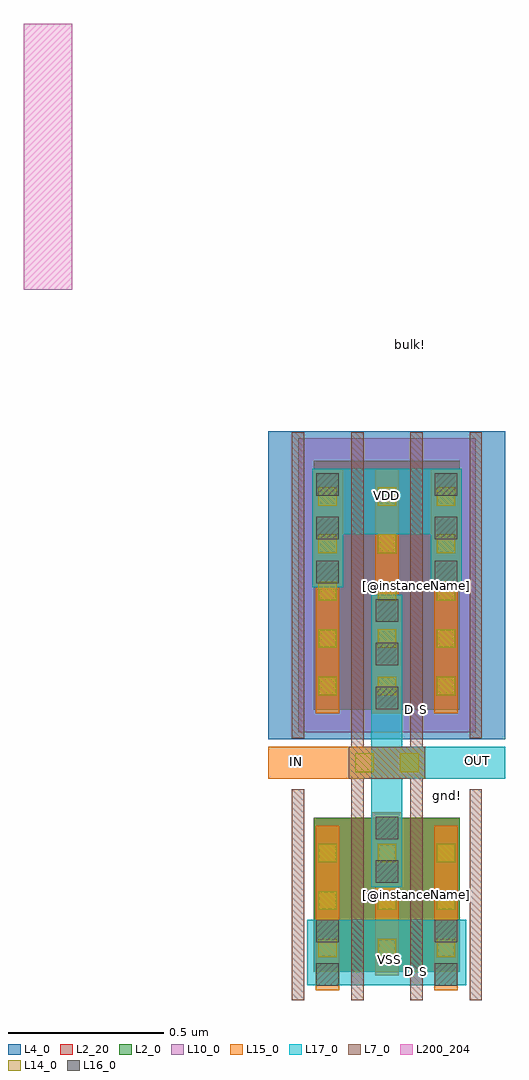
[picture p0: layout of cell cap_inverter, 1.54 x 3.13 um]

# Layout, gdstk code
import gdstk
lib = gdstk.Library(unit=1e-6, precision=1e-09)
def R(c, l, rs):  # rectangles x0, y0, x1, y1
    for r in rs: c.add(gdstk.rectangle(r[:2], r[2:], *l))
def A(c, l, x, y, w, h, nx, ny, dx, dy):  # array of equal rectangles
    R(c, l, [(x+i*dx, y+j*dy, x+i*dx+w, y+j*dy+h) for i in range(nx) for j in range(ny)])
L2_0 = (2, 0)
L2_20 = (2, 20)
L4_0 = (4, 0)
L7_0 = (7, 0)
L10_0 = (10, 0)
L14_0 = (14, 0)
L15_0 = (15, 0)
L16_0 = (16, 0)
L17_0 = (17, 0)
L200_204 = (200, 204)

cap_inverter = lib.new_cell('cap_inverter')
R(cap_inverter, L2_0, [(2.25,-1.842,2.369,-1.348), (2.369,-1.842,2.409,-1.348), (2.409,-1.842,2.559,-1.348), (2.559,-1.842,2.599,-1.348), (2.599,-1.842,2.718,-1.348), (2.25,-1.002,2.369,-0.204), (2.369,-1.002,2.409,-0.204), (2.409,-1.002,2.559,-0.204), (2.559,-1.002,2.599,-0.204), (2.599,-1.002,2.718,-0.204)])
R(cap_inverter, L2_20, [(2.25,-1.842,2.718,-1.348), (2.25,-1.002,2.718,-0.204)])
R(cap_inverter, L4_0, [(2.104,-1.097,2.864,-0.109)])
R(cap_inverter, L7_0, [(2.179,-1.933,2.219,-1.257), (2.369,-1.933,2.409,-1.842), (2.559,-1.933,2.599,-1.842), (2.749,-1.933,2.789,-1.257), (2.369,-1.842,2.409,-1.348), (2.559,-1.842,2.599,-1.348), (2.369,-1.348,2.409,-1.257), (2.559,-1.348,2.599,-1.257), (2.369,-1.257,2.409,-1.093), (2.559,-1.257,2.599,-1.093), (2.361,-1.223,2.607,-1.121), (2.361,-1.223,2.607,-1.121), (2.179,-1.093,2.219,-0.113), (2.369,-1.093,2.409,-1.002), (2.559,-1.093,2.599,-1.002), (2.749,-1.093,2.789,-0.113), (2.369,-1.002,2.409,-0.204), (2.559,-1.002,2.599,-0.204), (2.369,-0.204,2.409,-0.113), (2.559,-0.204,2.599,-0.113)])
R(cap_inverter, L10_0, [(2.199,-1.074,2.769,-0.132)])
A(cap_inverter, L14_0, 2.264, -1.796, 0.06, 0.06, 3, 3, 0.19, 0.152)
A(cap_inverter, L14_0, 2.264, -0.956, 0.06, 0.06, 3, 5, 0.19, 0.152)
R(cap_inverter, L14_0, [(2.382,-1.202,2.442,-1.142), (2.526,-1.202,2.586,-1.142)])
R(cap_inverter, L15_0, [(2.256,-1.901,2.332,-1.661), (2.636,-1.901,2.712,-1.661), (2.434,-1.571,2.534,-1.331), (2.104,-1.223,2.607,-1.121), (2.367,-1.217,2.601,-1.127), (2.434,-1.014,2.534,-0.634), (2.244,-0.61,2.344,-0.23), (2.624,-0.61,2.724,-0.23)])
A(cap_inverter, L16_0, 2.448, -1, 0.072, 0.072, 1, 3, 0, 0.14)
A(cap_inverter, L16_0, 2.258, -0.596, 0.072, 0.072, 1, 3, 0, 0.14)
A(cap_inverter, L16_0, 2.638, -0.596, 0.072, 0.072, 1, 3, 0, 0.14)
R(cap_inverter, L16_0, [(2.258,-1.887,2.33,-1.815), (2.638,-1.887,2.71,-1.815), (2.258,-1.747,2.33,-1.675), (2.638,-1.747,2.71,-1.675), (2.448,-1.557,2.52,-1.485), (2.448,-1.417,2.52,-1.345)])
R(cap_inverter, L17_0, [(2.229,-1.886,2.359,-1.676), (2.244,-1.886,2.724,-1.676), (2.609,-1.886,2.739,-1.676), (2.434,-1.571,2.534,-1.331), (2.434,-1.374,2.534,-1.014), (2.442,-1.223,2.864,-1.121), (2.434,-1.014,2.534,-0.634), (2.244,-0.61,2.344,-0.23), (2.624,-0.61,2.724,-0.23), (2.244,-0.44,2.724,-0.23)])
R(cap_inverter, L200_204, [(1.319,0.345,1.475,1.197)])
cap_inverter.add(gdstk.FlexPath([(2.294,-1.014),(2.294,-0.23)], 0.076, ends="flush", simple_path=True, layer=15, datatype=0))  # L15_0
cap_inverter.add(gdstk.FlexPath([(2.484,-1.014),(2.484,-0.23)], 0.076, ends="flush", simple_path=True, layer=15, datatype=0))  # L15_0
cap_inverter.add(gdstk.FlexPath([(2.674,-1.014),(2.674,-0.23)], 0.076, ends="flush", simple_path=True, layer=15, datatype=0))  # L15_0
cap_inverter.add(gdstk.FlexPath([(2.294,-1.854),(2.294,-1.374)], 0.076, ends="flush", simple_path=True, layer=15, datatype=0))  # L15_0
cap_inverter.add(gdstk.FlexPath([(2.484,-1.854),(2.484,-1.374)], 0.076, ends="flush", simple_path=True, layer=15, datatype=0))  # L15_0
cap_inverter.add(gdstk.FlexPath([(2.674,-1.854),(2.674,-1.374)], 0.076, ends="flush", simple_path=True, layer=15, datatype=0))  # L15_0
cap_inverter.add(gdstk.Label('gnd!', (3.406,-1.004), layer=61, texttype=31))
cap_inverter.add(gdstk.Label('bulk!', (5.717,0.187), layer=61, texttype=31))
cap_inverter.add(gdstk.Label('bulk!', (3.826,0.177), layer=61, texttype=31))
cap_inverter.add(gdstk.Label('bulk!', (8.931,0.177), layer=61, texttype=31))
cap_inverter.add(gdstk.Label('bulk!', (2.561,0.168), layer=61, texttype=31))
cap_inverter.add(gdstk.Label('gnd!', (2.678,-1.276), layer=61, texttype=31))
cap_inverter.add(gdstk.Label('VSS', (2.491,-1.803), layer=17, texttype=20))
cap_inverter.add(gdstk.Label('OUT', (2.774,-1.166), layer=17, texttype=20))
cap_inverter.add(gdstk.Label('VDD', (2.484,-0.315), layer=17, texttype=20))
cap_inverter.add(gdstk.Label('IN', (2.195,-1.169), layer=15, texttype=20))
cap_inverter.add(gdstk.Label('D', (2.558,-1.001), layer=62, texttype=20))
cap_inverter.add(gdstk.Label('S', (2.6,-1.001), layer=62, texttype=20))
cap_inverter.add(gdstk.Label('[@instanceName]', (2.579,-0.603), layer=62, texttype=20))
cap_inverter.add(gdstk.Label('D', (2.558,-1.841), layer=62, texttype=20))
cap_inverter.add(gdstk.Label('S', (2.6,-1.841), layer=62, texttype=20))
cap_inverter.add(gdstk.Label('[@instanceName]', (2.579,-1.595), layer=62, texttype=20))

lib.write_gds('cap_inverter.gds')
